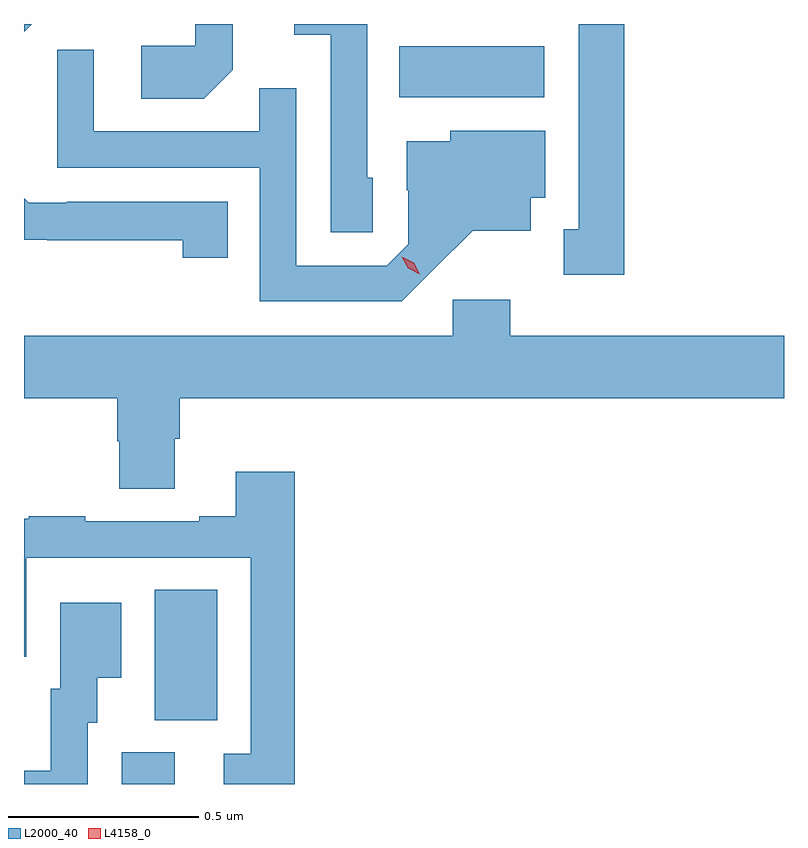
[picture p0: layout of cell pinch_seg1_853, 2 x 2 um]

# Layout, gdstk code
import gdstk
lib = gdstk.Library(unit=1e-6, precision=1e-09)
def R(c, l, rs):  # rectangles x0, y0, x1, y1
    for r in rs: c.add(gdstk.rectangle(r[:2], r[2:], *l))
def P(c, l, *ps):  # polygons
    for p in ps: c.add(gdstk.Polygon(p, *l))
L2000_40 = (2000, 40)
L4158_0 = (4158, 0)

pinch_seg1_853 = lib.new_cell('pinch_seg1_853')
R(pinch_seg1_853, L2000_40, [(481.403,569.365,481.543,569.448), (481.49,569.533,481.654,569.876), (482.134,571.172,482.515,571.306)])
P(pinch_seg1_853, L2000_40, [(481.167,571.365),(481.146,571.365),(481.146,571.344)],
  [(482.064,570.96),(482.049,570.96),(482.049,571.365),(481.857,571.365),(481.857,571.337),(481.953,571.337),(481.953,570.817),(482.064,570.817)],
  [(482.725,571.365),(482.606,571.365),(482.606,570.825),(482.567,570.825),(482.567,570.705),(482.725,570.705)],
  [(481.695,571.244),(481.695,571.365),(481.596,571.365),(481.596,571.308),(481.455,571.308),(481.455,571.168),(481.619,571.168)],
  [(482.224,570.719),(482.327,570.821),(482.479,570.821),(482.479,570.908),(482.518,570.908),(482.518,571.084),(482.268,571.084),(482.268,571.057),(482.153,571.057),(482.153,570.928),(482.157,570.928),(482.157,570.786),(482.1,570.729),(481.863,570.729),(481.863,571.196),(481.765,571.196),(481.765,571.083),(481.329,571.083),(481.329,571.297),(481.233,571.297),(481.233,570.987),(481.767,570.987),(481.767,570.636),(482.14,570.636)],
  [(481.682,570.897),(481.258,570.897),(481.258,570.894),(481.158,570.894),(481.146,570.906),(481.146,570.797),(481.207,570.797),(481.207,570.796),(481.564,570.796),(481.564,570.75),(481.682,570.75)],
  [(481.543,570.274),(481.556,570.274),(481.556,570.38),(483.146,570.38),(483.146,570.544),(482.426,570.544),(482.426,570.64),(482.274,570.64),(482.274,570.544),(481.146,570.544),(481.146,570.38),(481.391,570.38),(481.391,570.267),(481.396,570.267),(481.396,570.142),(481.543,570.142)],
  [(481.859,570.187),(481.703,570.187),(481.703,570.07),(481.607,570.07),(481.607,570.057),(481.307,570.057),(481.307,570.07),(481.159,570.07),(481.159,570.063),(481.146,570.063),(481.146,569.7),(481.152,569.7),(481.152,569.961),(481.743,569.961),(481.743,569.445),(481.671,569.445),(481.671,569.365),(481.859,569.365)],
  [(481.314,569.526),(481.339,569.526),(481.339,569.645),(481.402,569.645),(481.402,569.842),(481.241,569.842),(481.241,569.616),(481.217,569.616),(481.217,569.4),(481.146,569.4),(481.146,569.365),(481.314,569.365)])
P(pinch_seg1_853, L4158_0, [(482.188,570.707),(482.157,570.722),(482.14,570.752),(482.14,570.752),(482.14,570.752),(482.171,570.737),(482.188,570.707),(482.188,570.707)])

lib.write_gds('pinch_seg1_853.gds')
